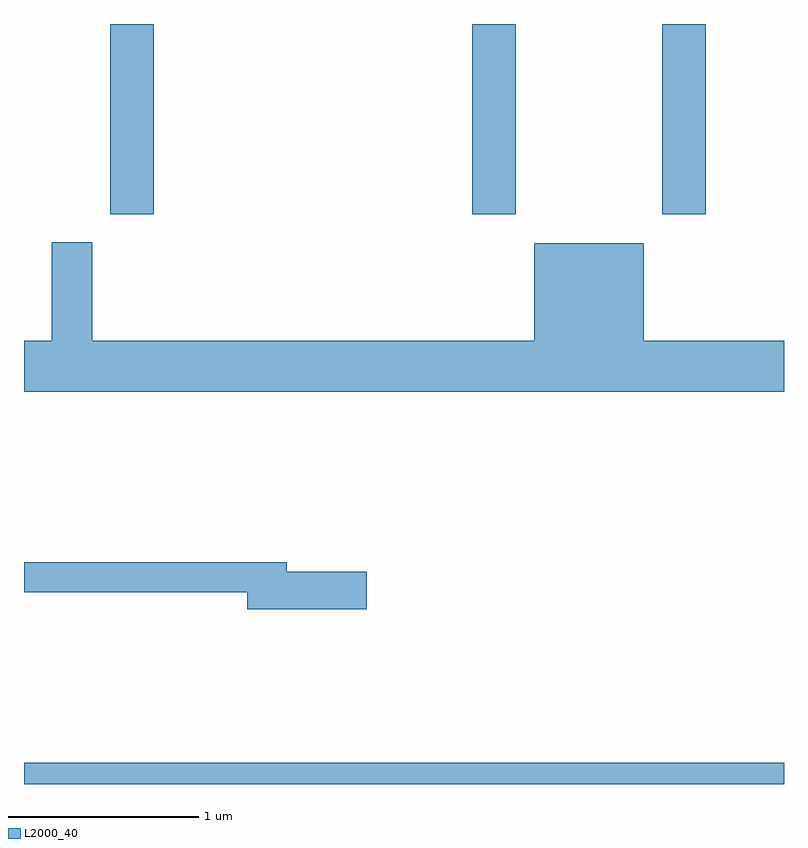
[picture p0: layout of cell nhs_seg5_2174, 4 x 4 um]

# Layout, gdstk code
import gdstk
lib = gdstk.Library(unit=1e-6, precision=1e-09)
def R(c, l, rs):  # rectangles x0, y0, x1, y1
    for r in rs: c.add(gdstk.rectangle(r[:2], r[2:], *l))
def P(c, l, *ps):  # polygons
    for p in ps: c.add(gdstk.Polygon(p, *l))
L2000_40 = (2000, 40)

nhs_seg5_2174 = lib.new_cell('nhs_seg5_2174')
R(nhs_seg5_2174, L2000_40, [(249.611,1448.072,253.611,1448.184), (250.066,1451.071,250.294,1452.072), (251.971,1451.071,252.199,1452.072), (252.971,1451.071,253.199,1452.072)])
P(nhs_seg5_2174, L2000_40, [(249.756,1450.924),(249.756,1450.404),(249.611,1450.404),(249.611,1450.136),(253.611,1450.136),(253.611,1450.404),(252.874,1450.404),(252.874,1450.919),(252.296,1450.919),(252.296,1450.404),(249.969,1450.404),(249.969,1450.924)],
  [(251.414,1449.189),(250.994,1449.189),(250.994,1449.239),(249.611,1449.239),(249.611,1449.081),(250.786,1449.081),(250.786,1448.991),(251.414,1448.991)])

lib.write_gds('nhs_seg5_2174.gds')
